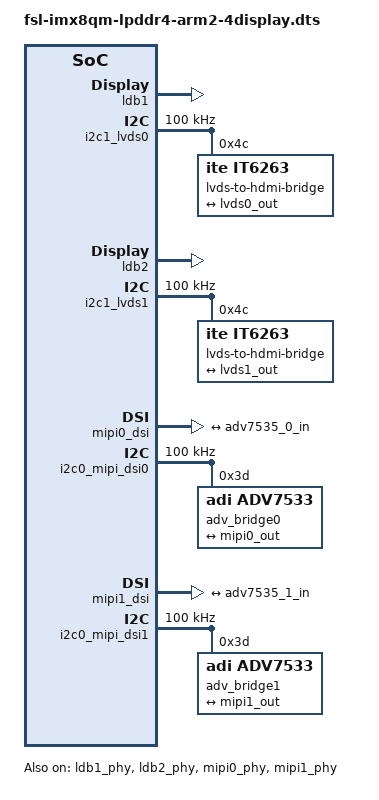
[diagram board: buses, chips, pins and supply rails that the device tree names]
/*
 * Copyright 2017 NXP
 *
 * This program is free software; you can redistribute it and/or
 * modify it under the terms of the GNU General Public License
 * as published by the Free Software Foundation; either version 2
 * of the License, or (at your option) any later version.
 *
 * This program is distributed in the hope that it will be useful,
 * but WITHOUT ANY WARRANTY; without even the implied warranty of
 * MERCHANTABILITY or FITNESS FOR A PARTICULAR PURPOSE.  See the
 * GNU General Public License for more details.
 */

#include "fsl-imx8qm-lpddr4-arm2.dts"


&ldb1_phy {
	status = "okay";
};

&ldb1 {
	status = "okay";

	lvds-channel@0 {
		fsl,data-mapping = "jeida";
		fsl,data-width = <24>;
		status = "okay";

		port@1 {
			reg = <1>;

			lvds0_out: endpoint {
				remote-endpoint = <&it6263_0_in>;
			};
		};
	};
};

&i2c1_lvds0 {
	#address-cells = <1>;
	#size-cells = <0>;
	pinctrl-names = "default";
	pinctrl-0 = <&pinctrl_lvds0_lpi2c1>;
	clock-frequency = <100000>;
	status = "okay";

	lvds-to-hdmi-bridge@4c {
		compatible = "ite,it6263";
		reg = <0x4c>;

		port {
			it6263_0_in: endpoint {
				clock-lanes = <3>;
				data-lanes = <0 1 2 4>;
				remote-endpoint = <&lvds0_out>;
			};
		};
	};
};

&ldb2_phy {
	status = "okay";
};

&ldb2 {
	status = "okay";

	lvds-channel@0 {
		fsl,data-mapping = "jeida";
		fsl,data-width = <24>;
		status = "okay";

		port@1 {
			reg = <1>;

			lvds1_out: endpoint {
				remote-endpoint = <&it6263_1_in>;
			};
		};
	};
};

&i2c1_lvds1 {
	#address-cells = <1>;
	#size-cells = <0>;
	pinctrl-names = "default";
	pinctrl-0 = <&pinctrl_lvds1_lpi2c1>;
	clock-frequency = <100000>;
	status = "okay";

	lvds-to-hdmi-bridge@4c {
		compatible = "ite,it6263";
		reg = <0x4c>;

		port {
			it6263_1_in: endpoint {
				clock-lanes = <3>;
				data-lanes = <0 1 2 4>;
				remote-endpoint = <&lvds1_out>;
			};
		};
	};
};

&mipi0_phy {
	status = "okay";
};

&mipi0_dsi {
	status = "okay";

	port@1 {
		mipi0_out: endpoint {
			remote-endpoint = <&adv7535_0_in>;
		};
	};
};

&i2c0_mipi_dsi0 {
	#address-cells = <1>;
	#size-cells = <0>;
	pinctrl-names = "default";
	pinctrl-0 = <&pinctrl_mipi0_lpi2c0>;
	clock-frequency = <100000>;
	status = "okay";

	adv_bridge0: adv7535@3D {
		compatible = "adi,adv7533";
		reg = <0x3D>;
		status = "okay";
		adi,dsi-lanes = <4>;

		port {
			adv7535_0_in: endpoint {
				remote-endpoint = <&mipi0_out>;
			};
		};
	};
};

&mipi1_phy {
	status = "okay";
};

&mipi1_dsi {
	status = "okay";

	port@1 {
		mipi1_out: endpoint {
			remote-endpoint = <&adv7535_1_in>;
		};
	};
};

&i2c0_mipi_dsi1 {
	#address-cells = <1>;
	#size-cells = <0>;
	pinctrl-names = "default";
	pinctrl-0 = <&pinctrl_mipi1_lpi2c0>;
	clock-frequency = <100000>;
	status = "okay";

	adv_bridge1: adv7535@3D {
		compatible = "adi,adv7533";
		reg = <0x3D>;
		status = "okay";
		adi,dsi-lanes = <4>;

		port {
			adv7535_1_in: endpoint {
				remote-endpoint = <&mipi1_out>;
			};
		};
	};
};
